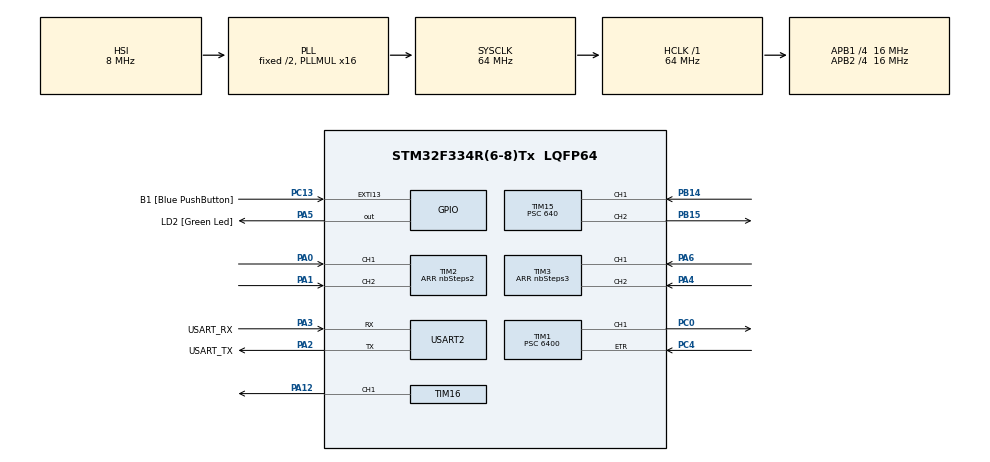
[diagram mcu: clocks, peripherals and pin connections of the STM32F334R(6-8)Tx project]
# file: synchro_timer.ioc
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Mcu.Family=STM32F3
TIM15.AutoReloadPreload=TIM_AUTORELOAD_PRELOAD_ENABLE
VP_TIM1_VS_OPM.Mode=OPM_bit
RCC.CortexFreq_Value=64000000
VP_TIM17_VS_ClockSourceINT.Mode=Enable_Timer
PF0\ /\ OSC_IN.Mode=HSE-External-Clock-Source
SH.S_TIM1_ETR.0=TIM1_ETR,TriggerSource_ETR
PA14.GPIO_Label=TCK
RCC.SYSCLKSourceVirtual=RCC_SYSCLKSOURCE_PLLCLK
TIM3.EncoderMode=TIM_ENCODERMODE_TI12
TIM2.EncoderMode=TIM_ENCODERMODE_TI12
TIM1.Pulse-PWM\ Generation1\ CH1=150
PC13.GPIO_Label=B1 [Blue PushButton]
PB15.Signal=S_TIM15_CH2
ProjectManager.StackSize=0x400
SH.S_TIM15_CH2.0=TIM15_CH2,PWM Generation2 CH2
PA12.Signal=S_TIM16_CH1
TIM1.Prescaler=6400
Mcu.UserConstants=nbSteps2,128;nbSteps3,128
TIM15.Prescaler=640
RCC.HCLKFreq_Value=64000000
RCC.APB2TimFreq_Value=32000000
TIM3.Period=nbSteps3
RCC.AHBFreq_Value=64000000
RCC.HSE_VALUE=8000000
USART2.VirtualMode-Asynchronous=VM_ASYNC
RCC.PLLMUL=RCC_PLL_MUL16
PC14\ /\ OSC32_IN.Mode=LSE-External-Oscillator
TIM15.Period=10000
TIM15.TIM_MasterSlaveMode=TIM_MASTERSLAVEMODE_ENABLE
TIM1.Channel-PWM\ Generation1\ CH1=TIM_CHANNEL_1
TIM15.Channel-PWM\ Generation2\ CH2=TIM_CHANNEL_2
PC14\ /\ OSC32_IN.Signal=RCC_OSC32_IN
PA14.Mode=Serial_Wire
PC15\ /\ OSC32_OUT.Signal=RCC_OSC32_OUT
NVIC.TIM2_IRQn=true\:0\:0\:false\:false\:true\:true\:true
VP_TIM15_VS_OPM.Mode=OPM_bit
SH.S_TIM3_CH1.0=TIM3_CH1,Encoder_Interface
VP_TIM1_VS_ClockSourceINT.Mode=Internal
TIM16.Pulse=5
TIM15.OCMode_PWM-PWM\ Generation2\ CH2=TIM_OCMODE_PWM2
PA0.Signal=S_TIM2_CH1_ETR
RCC.FLatency-AdvancedSettings=FLASH_LATENCY_2
Mcu.Package=LQFP64
PA6.Signal=S_TIM3_CH1
PA2.GPIO_Label=USART_TX
PC15\ /\ OSC32_OUT.Mode=LSE-External-Oscillator
RCC.APB2CLKDivider=RCC_HCLK_DIV4
RCC.APB1TimFreq_Value=32000000
TIM1.Period=300
TIM16.Prescaler=640
PA3.Signal=USART2_RX
PB3.GPIO_Label=SWO
TIM2.IC1Filter=10
PC13.Signal=GPXTI13
PC4.Signal=S_TIM1_ETR
SH.S_TIM16_CH1.0=TIM16_CH1,PWM Generation1 CH1
VP_TIM16_VS_ClockSourceINT.Mode=Enable_Timer
PC0.Signal=S_TIM1_CH1
RCC.APB1CLKDivider=RCC_HCLK_DIV4
TIM16.Channel=TIM_CHANNEL_1
PA3.Mode=Asynchronous
PA13.Signal=SYS_JTMS-SWDIO
SH.S_TIM2_CH2.0=TIM2_CH2,Encoder_Interface
VP_TIM15_VS_ControllerModeTrigger.Mode=Trigger Mode
SH.S_TIM1_CH1.0=TIM1_CH1,PWM Generation1 CH1
ProjectManager.TargetToolchain=Other Toolchains (GPDSC)
PA1.Signal=S_TIM2_CH2
PF1\ /\ OSC_OUT.Signal=RCC_OSC_OUT
PB14.Signal=S_TIM15_CH1
PA5.Signal=GPIO_Output
SH.S_TIM3_CH2.0=TIM3_CH2,Encoder_Interface
TIM3.IC1Filter=10
TIM15.Pulse-PWM\ Generation2\ CH2=5000
NVIC.TIM1_BRK_TIM15_IRQn=true\:0\:0\:false\:false\:true\:true\:true
board=NUCLEO-F334R8
SH.S_TIM15_CH1.0=TIM15_CH1,TriggerSource_TI1FP1
NVIC.TIM3_IRQn=true\:0\:0\:false\:false\:true\:true\:true
TIM1.TIM_MasterOutputTrigger=TIM_TRGO_UPDATE
TIM16.Period=1000
RCC.APB2Freq_Value=16000000
TIM16.AutomaticOutput=TIM_AUTOMATICOUTPUT_DISABLE
PF0\ /\ OSC_IN.Signal=RCC_OSC_IN
VP_TIM1_VS_ControllerModeCombinedResetTrigger.Mode=Combined_Reset_Trigger_Mode
TIM2.Period=nbSteps2
PC15\ /\ OSC32_OUT.GPIO_Label=RCC_OSC32_OUT
PA13.Mode=Serial_Wire
Mcu.Name=STM32F334R(6-8)Tx
TIM1.OCMode_PWM-PWM\ Generation1\ CH1=TIM_OCMODE_PWM2
PA2.Signal=USART2_TX
PA13.GPIO_Label=TMS
PB3.Signal=SYS_JTDO-TRACESWO
PA4.Signal=S_TIM3_CH2
RCC.SYSCLKFreq_VALUE=64000000
TIM1.TIM_MasterOutputTrigger2=TIM_TRGO2_UPDATE
PA5.GPIO_Label=LD2 [Green Led]
PC13.GPIO_ModeDefaultEXTI=GPIO_MODE_IT_FALLING
SH.S_TIM2_CH1_ETR.0=TIM2_CH1,Encoder_Interface
VP_TIM15_VS_ClockSourceINT.Mode=Internal
PA14.Signal=SYS_JTCK-SWCLK
ProjectManager.HeapSize=0x200
RCC.HSI_VALUE=8000000
NVIC.PriorityGroup=NVIC_PRIORITYGROUP_4
PA2.Mode=Asynchronous
RCC.APB1Freq_Value=16000000
TIM15.TIM_MasterOutputTrigger=TIM_TRGO_OC1REF
TIM1.TIM_MasterSlaveMode=TIM_MASTERSLAVEMODE_DISABLE
PA3.GPIO_Label=USART_RX

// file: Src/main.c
/* USER CODE BEGIN Header */
/**
  ******************************************************************************
  * @file           : main.c
  * @brief          : Main program body
  ******************************************************************************
  * @attention
  *
  * <h2><center>&copy; Copyright (c) 2021 STMicroelectronics.
  * All rights reserved.</center></h2>
  *
  * This software component is licensed by ST under BSD 3-Clause license,
  * the "License"; You may not use this file except in compliance with the
  * License. You may obtain a copy of the License at:
  *                        opensource.org/licenses/BSD-3-Clause
  *
  ******************************************************************************
  */
/* USER CODE END Header */
#include "main.h"
#include "tim.h"
#include "usart.h"
#include "gpio.h"

void SystemClock_Config(void);

int main(void)
{

  /* MCU Configuration--------------------------------------------------------*/

  /* Reset of all peripherals, Initializes the Flash interface and the Systick. */
  HAL_Init();

  /* Configure the system clock */
  SystemClock_Config();

  /* Initialize all configured peripherals */
  MX_GPIO_Init();
  MX_TIM1_Init();
  MX_TIM2_Init();
  MX_TIM3_Init();
  MX_USART2_UART_Init();
  MX_TIM15_Init();
  MX_TIM16_Init();
  MX_TIM17_Init();
  /* USER CODE BEGIN 2 */
	postInitTim15();
	HAL_TIM_Encoder_Start_IT(&htim2, TIM_CHANNEL_ALL);
	HAL_TIM_Encoder_Start_IT(&htim3, TIM_CHANNEL_ALL);
	char *msg;
	msg = "\r\nstarting\r\n";
	HAL_UART_Transmit(&huart2, (uint8_t *) msg, sizeof(msg), 100);
	HAL_TIM_PWM_Start(&htim16, TIM_CHANNEL_1);
	HAL_TIM_OnePulse_Start_IT(&htim15, TIM_CHANNEL_1);
	HAL_TIM_OnePulse_Start_IT(&htim1, TIM_CHANNEL_1);
	//HAL_TIM_PWM_Start(&htim15, TIM_CHANNEL_1);
	//HAL_TIM_OC_Start(&htim15, TIM_CHANNEL_1);

  /* USER CODE END 2 */

  /* Infinite loop */
  /* USER CODE BEGIN WHILE */

  /*
  timer 16 PA12 is the state trigger and also resets timer 15
  timer 15 PB14 is the measurement trigger */
	char msg2[100];
	int position2=1000;
	int rt = 1000;
	int period;
	// initialize in the middle of the range
	initializePosition2(nbSteps2 / 2);
	initializePosition3(nbSteps3/2);
  while (1)
  {
    /* USER CODE END WHILE */

    /* USER CODE BEGIN 3 */
	  position2 = getPosition2()+1;
	  rt = getPosition3();
	  //sprintf(msg2, " encoded value=%d\n", 10);
	  //HAL_UART_Transmit(&huart2, (uint8_t *) msg2, sizeof(msg2), 100);
	  period = position2 * 50;
	  HAL_Delay(period *rt / (nbSteps3 - 1)) ;
	  HAL_GPIO_WritePin(LD2_GPIO_Port, LD2_Pin, GPIO_PIN_SET);
	  HAL_Delay(period *(nbSteps3 - rt) / (nbSteps3 - 1));
	  HAL_GPIO_WritePin(LD2_GPIO_Port, LD2_Pin, GPIO_PIN_RESET);
	  int tim16Period = 1000 + 2*(getPosition2() - nbSteps2 / 2);
	  setTim16Period(tim16Period);
  }
  /* USER CODE END 3 */
}

void SystemClock_Config(void)
{
  RCC_OscInitTypeDef RCC_OscInitStruct = {0};
  RCC_ClkInitTypeDef RCC_ClkInitStruct = {0};
  RCC_PeriphCLKInitTypeDef PeriphClkInit = {0};

  /** Initializes the RCC Oscillators according to the specified parameters
  * in the RCC_OscInitTypeDef structure.
  */
  RCC_OscInitStruct.OscillatorType = RCC_OSCILLATORTYPE_HSI;
  RCC_OscInitStruct.HSIState = RCC_HSI_ON;
  RCC_OscInitStruct.HSICalibrationValue = RCC_HSICALIBRATION_DEFAULT;
  RCC_OscInitStruct.PLL.PLLState = RCC_PLL_ON;
  RCC_OscInitStruct.PLL.PLLSource = RCC_PLLSOURCE_HSI;
  RCC_OscInitStruct.PLL.PLLMUL = RCC_PLL_MUL16;
  if (HAL_RCC_OscConfig(&RCC_OscInitStruct) != HAL_OK)
  {
    Error_Handler();
  }
  /** Initializes the CPU, AHB and APB buses clocks
  */
  RCC_ClkInitStruct.ClockType = RCC_CLOCKTYPE_HCLK|RCC_CLOCKTYPE_SYSCLK
                              |RCC_CLOCKTYPE_PCLK1|RCC_CLOCKTYPE_PCLK2;
  RCC_ClkInitStruct.SYSCLKSource = RCC_SYSCLKSOURCE_PLLCLK;
  RCC_ClkInitStruct.AHBCLKDivider = RCC_SYSCLK_DIV1;
  RCC_ClkInitStruct.APB1CLKDivider = RCC_HCLK_DIV4;
  RCC_ClkInitStruct.APB2CLKDivider = RCC_HCLK_DIV4;

  if (HAL_RCC_ClockConfig(&RCC_ClkInitStruct, FLASH_LATENCY_2) != HAL_OK)
  {
    Error_Handler();
  }
  PeriphClkInit.PeriphClockSelection = RCC_PERIPHCLK_TIM1;
  PeriphClkInit.Tim1ClockSelection = RCC_TIM1CLK_HCLK;
  if (HAL_RCCEx_PeriphCLKConfig(&PeriphClkInit) != HAL_OK)
  {
    Error_Handler();
  }
}

/* USER CODE BEGIN 4 */
void HAL_TIM_OC_DelayElapsedCallback(TIM_HandleTypeDef *htim) // same as HAL_TIM_PWM_PulseFinishedCallback
{
	if (htim == &htim15) {
		//executeSetRt();
		//		HAL_TIM_OnePulse_Stop_IT(htim, TIM_CHANNEL_1);
		//HAL_TIM_OnePulse_Start_IT(htim, TIM_CHANNEL_1);
	}
}

void HAL_TIM_PeriodElapsedCallback(TIM_HandleTypeDef *htim)
{
	if (htim == &htim15) {
		//HAL_TIM_OC_Stop(htim15, TIM_CHANNEL_1);
		HAL_TIM_OnePulse_Stop_IT(htim, TIM_CHANNEL_1);
		HAL_TIM_OnePulse_Start_IT(htim, TIM_CHANNEL_1);
	}
}

void HAL_TIM_PWM_PulseFinishedCallback(TIM_HandleTypeDef *htim)
{
	if (htim == &htim15) {
		//executeSetRt();
		//		HAL_TIM_OnePulse_Stop_IT(htim, TIM_CHANNEL_1);
		//HAL_TIM_OnePulse_Start_IT(htim, TIM_CHANNEL_1);
	}
}

void HAL_TIM_IC_CaptureCallback(TIM_HandleTypeDef *htim){
	if (htim == &htim2) {
		setTrigPC0_osc((120*getPosition2())/nbSteps2 + 1);
	} else if (htim == &htim3) {
		setTrigPB15_AC(4500 + (800*getPosition3()) / nbSteps3);
	}
}

/* USER CODE END 4 */

void Error_Handler(void)
{
}

/************************ (C) COPYRIGHT STMicroelectronics *****END OF FILE****/
